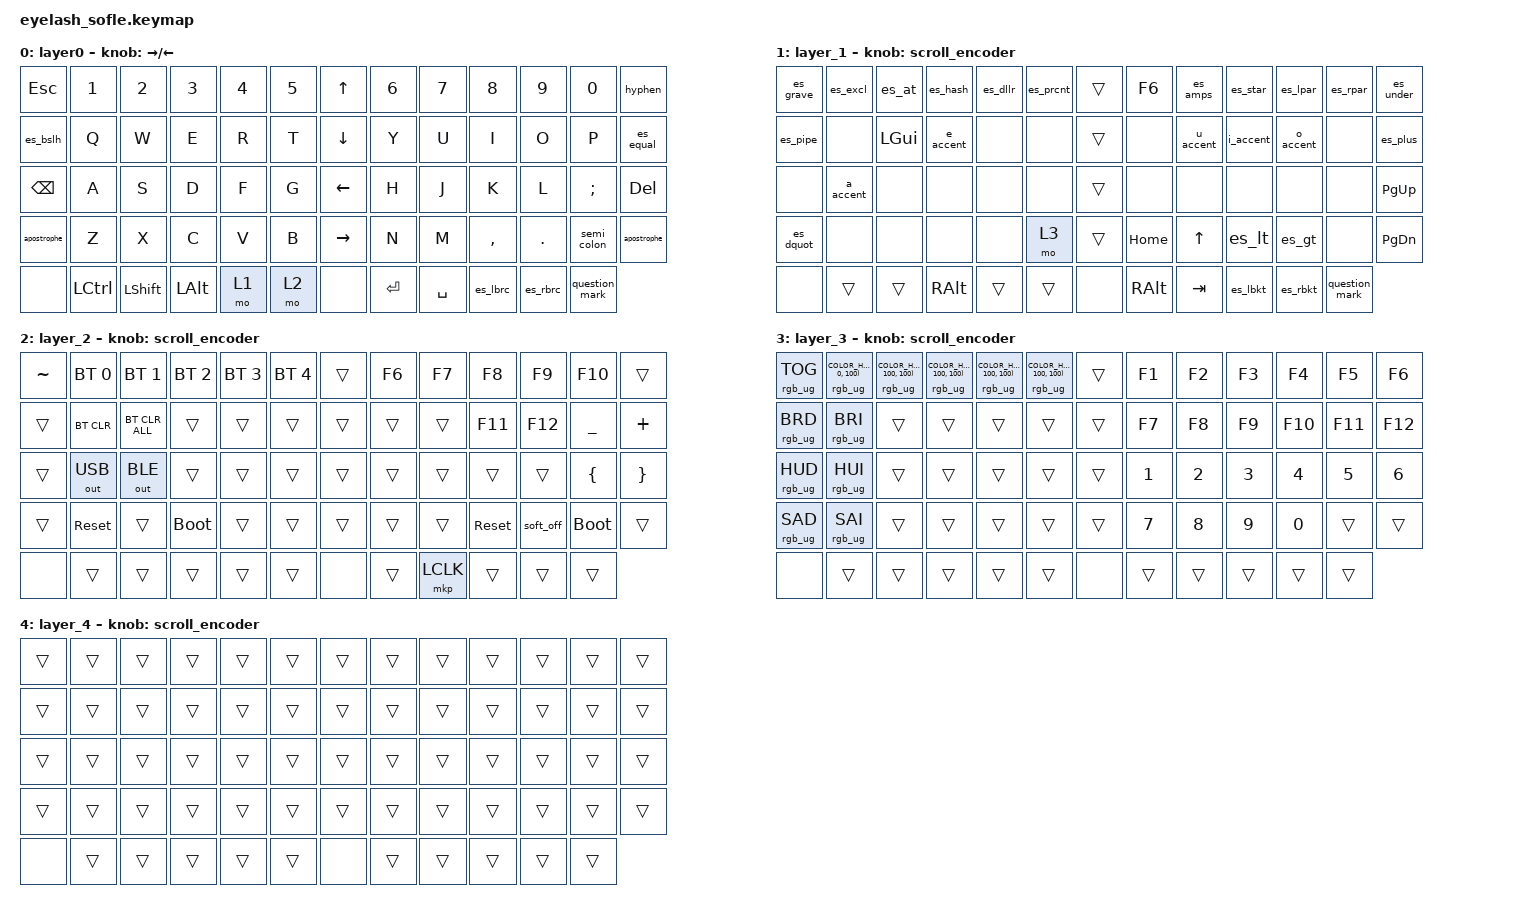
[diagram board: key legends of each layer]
#define ZMK_POINTING_DEFAULT_MOVE_VAL 1200
#define ZMK_POINTING_DEFAULT_SCRL_VAL 25

#include <input/processors.dtsi>
#include <zephyr/dt-bindings/input/input-event-codes.h>
#include <behaviors.dtsi>
#include <dt-bindings/zmk/bt.h>
#include <dt-bindings/zmk/keys.h>
#include <dt-bindings/zmk/outputs.h>
#include <dt-bindings/zmk/pointing.h>
#include <dt-bindings/zmk/rgb.h>

&mmv_input_listener { input-processors = <&zip_xy_scaler 2 1>; };
&msc_input_listener { input-processors = <&zip_scroll_scaler 2 1>; };

&msc {
    acceleration-exponent = <1>;
    time-to-max-speed-ms = <100>;
    delay-ms = <0>;
};

&mmv {
    time-to-max-speed-ms = <500>;
    acceleration-exponent = <1>;
    trigger-period-ms = <16>;
};

&soft_off { hold-time-ms = <2000>; };

/ {
    // NOTA: Esta exportación incluye todas las secciones necesarias:
    // - Configuración de pointing y soft_off
    // - Scroll encoder behaviors
    // - Combos (softoff)
    // - Macros (SHIFT_MCLK)
    // - Controles RGB manuales en Layer 1
    // NO eliminar ninguna sección al importar/exportar
    scroll_encoder: scroll_encoder {
        compatible = "zmk,behavior-sensor-rotate";
        #sensor-binding-cells = <0>;
        bindings = <&msc SCRL_DOWN>, <&msc SCRL_UP>;
        tap-ms = <100>;
    };

    behaviors {
        dual_role: dual_role { 
            compatible = "zmk,behavior-hold-tap"; 
            #binding-cells = <2>; // TAP y HOLD como parámetros 
            tapping-term-ms = <200>; 
            flavor = "tap-preferred"; // Priorizar tap sobre hold
            bindings = <&kp>, <&kp>; // Permite cualquier tecla como parámetro
        };
        
        // Simple macros for Spanish characters
        semi_colon: semi_colon {
            compatible = "zmk,behavior-macro";
            #binding-cells = <0>;
            bindings = <&kp LS(COMMA)>;
        };
        
        apostrophe: apostrophe {
            compatible = "zmk,behavior-macro";
            #binding-cells = <0>;
            wait-ms = <40>;
            tap-ms = <40>;
            bindings = 
                <&macro_press &kp LALT>,
                <&macro_tap &kp KP_N0>,
                <&macro_tap &kp KP_N3>,
                <&macro_tap &kp KP_N9>,
                <&macro_release &kp LALT>
            ;
        };
        
        question_mark: question_mark {
            compatible = "zmk,behavior-macro";
            #binding-cells = <0>;
            wait-ms = <40>;
            tap-ms = <40>;
            bindings = 
                <&macro_press &kp LALT>,
                <&macro_tap &kp KP_N0>,
                <&macro_tap &kp KP_N6>,
                <&macro_tap &kp KP_N3>,
                <&macro_release &kp LALT>
            ;
        };
        
        hyphen: hyphen {
            compatible = "zmk,behavior-macro";
            #binding-cells = <0>;
            wait-ms = <40>;
            tap-ms = <40>;
            bindings = 
                <&macro_press &kp LALT>,
                <&macro_tap &kp KP_N4>,
                <&macro_tap &kp KP_N5>,
                <&macro_release &kp LALT>
            ;
        };
        
        plus_sign: plus_sign {
            compatible = "zmk,behavior-macro";
            #binding-cells = <0>;
            wait-ms = <40>;
            tap-ms = <40>;
            bindings = 
                <&macro_press &kp LALT>,
                <&macro_tap &kp KP_N4>,
                <&macro_tap &kp KP_N3>,
                <&macro_release &kp LALT>
            ;
        };
        
        acute_accent: acute_accent {
            compatible = "zmk,behavior-macro";
            #binding-cells = <0>;
            wait-ms = <40>;
            tap-ms = <40>;
            bindings = 
                <&macro_press &kp LALT>,
                <&macro_tap &kp KP_N0>,
                <&macro_tap &kp KP_N0>,
                <&macro_tap &kp KP_N1>,
                <&macro_tap &kp KP_N8>,
                <&macro_tap &kp KP_N0>,
                <&macro_release &kp LALT>
            ;
        };
        
        a_accent: a_accent {
            compatible = "zmk,behavior-macro";
            #binding-cells = <0>;
            wait-ms = <40>;
            tap-ms = <40>;
            bindings = 
                <&macro_press &kp LALT>,
                <&macro_tap &kp KP_N0>,
                <&macro_tap &kp KP_N2>,
                <&macro_tap &kp KP_N2>,
                <&macro_tap &kp KP_N5>,
                <&macro_release &kp LALT>
            ;
        };
        
        e_accent: e_accent {
            compatible = "zmk,behavior-macro";
            #binding-cells = <0>;
            wait-ms = <40>;
            tap-ms = <40>;
            bindings = 
                <&macro_press &kp LALT>,
                <&macro_tap &kp KP_N0>,
                <&macro_tap &kp KP_N2>,
                <&macro_tap &kp KP_N3>,
                <&macro_tap &kp KP_N3>,
                <&macro_release &kp LALT>
            ;
        };
        
        i_accent: i_accent {
            compatible = "zmk,behavior-macro";
            #binding-cells = <0>;
            wait-ms = <40>;
            tap-ms = <40>;
            bindings = 
                <&macro_press &kp LALT>,
                <&macro_tap &kp KP_N0>,
                <&macro_tap &kp KP_N2>,
                <&macro_tap &kp KP_N3>,
                <&macro_tap &kp KP_N7>,
                <&macro_release &kp LALT>
            ;
        };
        
        o_accent: o_accent {
            compatible = "zmk,behavior-macro";
            #binding-cells = <0>;
            wait-ms = <40>;
            tap-ms = <40>;
            bindings = 
                <&macro_press &kp LALT>,
                <&macro_tap &kp KP_N0>,
                <&macro_tap &kp KP_N2>,
                <&macro_tap &kp KP_N4>,
                <&macro_tap &kp KP_N3>,
                <&macro_release &kp LALT>
            ;
        };
        
        u_accent: u_accent {
            compatible = "zmk,behavior-macro";
            #binding-cells = <0>;
            wait-ms = <40>;
            tap-ms = <40>;
            bindings = 
                <&macro_press &kp LALT>,
                <&macro_tap &kp KP_N0>,
                <&macro_tap &kp KP_N2>,
                <&macro_tap &kp KP_N5>,
                <&macro_tap &kp KP_N0>,
                <&macro_release &kp LALT>
            ;
        };
        
        n_tilde: n_tilde {
            compatible = "zmk,behavior-macro";
            #binding-cells = <0>;
            wait-ms = <40>;
            tap-ms = <40>;
            bindings = 
                <&macro_press &kp LALT>,
                <&macro_tap &kp KP_N0>,
                <&macro_tap &kp KP_N2>,
                <&macro_tap &kp KP_N4>,
                <&macro_tap &kp KP_N1>,
                <&macro_release &kp LALT>
            ;
        };
        
        // Símbolos españoles con Alt sequences
        es_slash: es_slash {
            compatible = "zmk,behavior-macro";
            #binding-cells = <0>;
            wait-ms = <40>;
            tap-ms = <40>;
            bindings = 
                <&macro_press &kp LALT>,
                <&macro_tap &kp KP_N0>,
                <&macro_tap &kp KP_N4>,
                <&macro_tap &kp KP_N7>,
                <&macro_release &kp LALT>
            ;
        };
        
        es_lpar: es_lpar {
            compatible = "zmk,behavior-macro";
            #binding-cells = <0>;
            wait-ms = <40>;
            tap-ms = <40>;
            bindings = 
                <&macro_press &kp LALT>,
                <&macro_tap &kp KP_N0>,
                <&macro_tap &kp KP_N4>,
                <&macro_tap &kp KP_N0>,
                <&macro_release &kp LALT>
            ;
        };
        
        es_rpar: es_rpar {
            compatible = "zmk,behavior-macro";
            #binding-cells = <0>;
            wait-ms = <40>;
            tap-ms = <40>;
            bindings = 
                <&macro_press &kp LALT>,
                <&macro_tap &kp KP_N0>,
                <&macro_tap &kp KP_N4>,
                <&macro_tap &kp KP_N1>,
                <&macro_release &kp LALT>
            ;
        };
        
        es_equal: es_equal {
            compatible = "zmk,behavior-macro";
            #binding-cells = <0>;
            wait-ms = <40>;
            tap-ms = <40>;
            bindings = 
                <&macro_press &kp LALT>,
                <&macro_tap &kp KP_N0>,
                <&macro_tap &kp KP_N6>,
                <&macro_tap &kp KP_N1>,
                <&macro_release &kp LALT>
            ;
        };
        
        es_excl: es_excl {
            compatible = "zmk,behavior-macro";
            #binding-cells = <0>;
            wait-ms = <40>;
            tap-ms = <40>;
            bindings = 
                <&macro_press &kp LALT>,
                <&macro_tap &kp KP_N0>,
                <&macro_tap &kp KP_N3>,
                <&macro_tap &kp KP_N3>,
                <&macro_release &kp LALT>
            ;
        };
        
        es_dquot: es_dquot {
            compatible = "zmk,behavior-macro";
            #binding-cells = <0>;
            wait-ms = <40>;
            tap-ms = <40>;
            bindings = 
                <&macro_press &kp LALT>,
                <&macro_tap &kp KP_N0>,
                <&macro_tap &kp KP_N3>,
                <&macro_tap &kp KP_N4>,
                <&macro_release &kp LALT>
            ;
        };
        
        es_hash: es_hash {
            compatible = "zmk,behavior-macro";
            #binding-cells = <0>;
            wait-ms = <40>;
            tap-ms = <40>;
            bindings = 
                <&macro_press &kp LALT>,
                <&macro_tap &kp KP_N0>,
                <&macro_tap &kp KP_N3>,
                <&macro_tap &kp KP_N5>,
                <&macro_release &kp LALT>
            ;
        };
        
        es_dllr: es_dllr {
            compatible = "zmk,behavior-macro";
            #binding-cells = <0>;
            wait-ms = <40>;
            tap-ms = <40>;
            bindings = 
                <&macro_press &kp LALT>,
                <&macro_tap &kp KP_N0>,
                <&macro_tap &kp KP_N3>,
                <&macro_tap &kp KP_N6>,
                <&macro_release &kp LALT>
            ;
        };
        
        es_prcnt: es_prcnt {
            compatible = "zmk,behavior-macro";
            #binding-cells = <0>;
            wait-ms = <40>;
            tap-ms = <40>;
            bindings = 
                <&macro_press &kp LALT>,
                <&macro_tap &kp KP_N0>,
                <&macro_tap &kp KP_N3>,
                <&macro_tap &kp KP_N7>,
                <&macro_release &kp LALT>
            ;
        };
        
        es_amps: es_amps {
            compatible = "zmk,behavior-macro";
            #binding-cells = <0>;
            wait-ms = <40>;
            tap-ms = <40>;
            bindings = 
                <&macro_press &kp LALT>,
                <&macro_tap &kp KP_N0>,
                <&macro_tap &kp KP_N3>,
                <&macro_tap &kp KP_N8>,
                <&macro_release &kp LALT>
            ;
        };
        
        es_under: es_under {
            compatible = "zmk,behavior-macro";
            #binding-cells = <0>;
            wait-ms = <40>;
            tap-ms = <40>;
            bindings = 
                <&macro_press &kp LALT>,
                <&macro_tap &kp KP_N0>,
                <&macro_tap &kp KP_N9>,
                <&macro_tap &kp KP_N5>,
                <&macro_release &kp LALT>
            ;
        };
        
        es_lbrc: es_lbrc {
            compatible = "zmk,behavior-macro";
            #binding-cells = <0>;
            wait-ms = <40>;
            tap-ms = <40>;
            bindings = 
                <&macro_press &kp LALT>,
                <&macro_tap &kp KP_N1>,
                <&macro_tap &kp KP_N2>,
                <&macro_tap &kp KP_N3>,
                <&macro_release &kp LALT>
            ;
        };
        
        es_rbrc: es_rbrc {
            compatible = "zmk,behavior-macro";
            #binding-cells = <0>;
            wait-ms = <40>;
            tap-ms = <40>;
            bindings = 
                <&macro_press &kp LALT>,
                <&macro_tap &kp KP_N1>,
                <&macro_tap &kp KP_N2>,
                <&macro_tap &kp KP_N5>,
                <&macro_release &kp LALT>
            ;
        };
        
        es_lbkt: es_lbkt {
            compatible = "zmk,behavior-macro";
            #binding-cells = <0>;
            wait-ms = <40>;
            tap-ms = <40>;
            bindings = 
                <&macro_press &kp LALT>,
                <&macro_tap &kp KP_N9>,
                <&macro_tap &kp KP_N1>,
                <&macro_release &kp LALT>
            ;
        };
        
        es_rbkt: es_rbkt {
            compatible = "zmk,behavior-macro";
            #binding-cells = <0>;
            wait-ms = <40>;
            tap-ms = <40>;
            bindings = 
                <&macro_press &kp LALT>,
                <&macro_tap &kp KP_N9>,
                <&macro_tap &kp KP_N3>,
                <&macro_release &kp LALT>
            ;
        };
        
        es_pipe: es_pipe {
            compatible = "zmk,behavior-macro";
            #binding-cells = <0>;
            wait-ms = <40>;
            tap-ms = <40>;
            bindings = 
                <&macro_press &kp LALT>,
                <&macro_tap &kp KP_N1>,
                <&macro_tap &kp KP_N2>,
                <&macro_tap &kp KP_N4>,
                <&macro_release &kp LALT>
            ;
        };
        
        es_at: es_at {
            compatible = "zmk,behavior-macro";
            #binding-cells = <0>;
            wait-ms = <40>;
            tap-ms = <40>;
            bindings = 
                <&macro_press &kp LALT>,
                <&macro_tap &kp KP_N6>,
                <&macro_tap &kp KP_N4>,
                <&macro_release &kp LALT>
            ;
        };
        
        es_bslh: es_bslh {
            compatible = "zmk,behavior-macro";
            #binding-cells = <0>;
            wait-ms = <40>;
            tap-ms = <40>;
            bindings = 
                <&macro_press &kp LALT>,
                <&macro_tap &kp KP_N9>,
                <&macro_tap &kp KP_N2>,
                <&macro_release &kp LALT>
            ;
        };
        
        es_tilde: es_tilde {
            compatible = "zmk,behavior-macro";
            #binding-cells = <0>;
            wait-ms = <40>;
            tap-ms = <40>;
            bindings = 
                <&macro_press &kp LALT>,
                <&macro_tap &kp KP_N1>,
                <&macro_tap &kp KP_N2>,
                <&macro_tap &kp KP_N6>,
                <&macro_release &kp LALT>
            ;
        };
        
        es_euro: es_euro {
            compatible = "zmk,behavior-macro";
            #binding-cells = <0>;
            wait-ms = <40>;
            tap-ms = <40>;
            bindings = 
                <&macro_press &kp LALT>,
                <&macro_tap &kp KP_N0>,
                <&macro_tap &kp KP_N1>,
                <&macro_tap &kp KP_N2>,
                <&macro_tap &kp KP_N8>,
                <&macro_release &kp LALT>
            ;
        };
        
        es_plus: es_plus {
            compatible = "zmk,behavior-macro";
            #binding-cells = <0>;
            wait-ms = <40>;
            tap-ms = <40>;
            bindings = 
                <&macro_press &kp LALT>,
                <&macro_tap &kp KP_N4>,
                <&macro_tap &kp KP_N3>,
                <&macro_release &kp LALT>
            ;
        };
        
        es_star: es_star {
            compatible = "zmk,behavior-macro";
            #binding-cells = <0>;
            wait-ms = <40>;
            tap-ms = <40>;
            bindings = 
                <&macro_press &kp LALT>,
                <&macro_tap &kp KP_N4>,
                <&macro_tap &kp KP_N2>,
                <&macro_release &kp LALT>
            ;
        };
        
        es_lt: es_lt {
            compatible = "zmk,behavior-macro";
            #binding-cells = <0>;
            wait-ms = <40>;
            tap-ms = <40>;
            bindings = 
                <&macro_press &kp LALT>,
                <&macro_tap &kp KP_N6>,
                <&macro_tap &kp KP_N0>,
                <&macro_release &kp LALT>
            ;
        };
        
        es_gt: es_gt {
            compatible = "zmk,behavior-macro";
            #binding-cells = <0>;
            wait-ms = <40>;
            tap-ms = <40>;
            bindings = 
                <&macro_press &kp LALT>,
                <&macro_tap &kp KP_N6>,
                <&macro_tap &kp KP_N2>,
                <&macro_release &kp LALT>
            ;
        };
        
        es_caret: es_caret {
            compatible = "zmk,behavior-macro";
            #binding-cells = <0>;
            wait-ms = <40>;
            tap-ms = <40>;
            bindings = 
                <&macro_press &kp LALT>,
                <&macro_tap &kp KP_N9>,
                <&macro_tap &kp KP_N4>,
                <&macro_release &kp LALT>
            ;
        };
        
        es_comma: es_comma {
            compatible = "zmk,behavior-macro";
            #binding-cells = <0>;
            wait-ms = <40>;
            tap-ms = <40>;
            bindings = 
                <&macro_press &kp LALT>,
                <&macro_tap &kp KP_N4>,
                <&macro_tap &kp KP_N4>,
                <&macro_release &kp LALT>
            ;
        };
        
        es_dot: es_dot {
            compatible = "zmk,behavior-macro";
            #binding-cells = <0>;
            wait-ms = <40>;
            tap-ms = <40>;
            bindings = 
                <&macro_press &kp LALT>,
                <&macro_tap &kp KP_N4>,
                <&macro_tap &kp KP_N6>,
                <&macro_release &kp LALT>
            ;
        };
        
        es_colon: es_colon {
            compatible = "zmk,behavior-macro";
            #binding-cells = <0>;
            wait-ms = <40>;
            tap-ms = <40>;
            bindings = 
                <&macro_press &kp LALT>,
                <&macro_tap &kp KP_N5>,
                <&macro_tap &kp KP_N8>,
                <&macro_release &kp LALT>
            ;
        };
        
        es_grave: es_grave {
            compatible = "zmk,behavior-macro";
            #binding-cells = <0>;
            wait-ms = <40>;
            tap-ms = <40>;
            bindings = 
                <&macro_press &kp LALT>,
                <&macro_tap &kp KP_N9>,
                <&macro_tap &kp KP_N6>,
                <&macro_release &kp LALT>
            ;
        };
    };

    combos {
        compatible = "zmk,combos";
        softoff {
            bindings = <&soft_off>;
            key-positions = <14 28 40>;
        };
    };

    macros {
        SHIFT_MCLK: SHIFT_MCLK {
            compatible = "zmk,behavior-macro";
            #binding-cells = <0>;
            bindings =
                <&macro_press>,
                <&kp LEFT_SHIFT>,
                <&macro_press>,
                <&mkp MB3>,
                <&macro_pause_for_release>,
                <&macro_release>,
                <&kp LEFT_SHIFT &mkp MB3>;
            label = "SHIFT_MCLK";
        };
    };

    keymap {
        compatible = "zmk,keymap";

        layer0 {
            bindings = <
                &kp ESC  &kp N1  &kp N2  &kp N3  &kp N4  &kp N5  &kp UP  &kp N6  &kp N7  &kp N8  &kp N9  &kp N0  &hyphen
                &es_bslh  &kp Q  &kp W  &kp E  &kp R  &kp T  &kp DOWN  &kp Y  &kp U  &kp I  &kp O  &kp P  &es_equal
                &kp BSPC  &kp A  &kp S  &kp D  &kp F  &kp G  &kp LEFT  &kp H  &kp J  &kp K  &kp L  &kp SEMI  &kp DEL
                &apostrophe  &kp Z  &kp X  &kp C  &kp V  &kp B  &kp RIGHT  &kp N  &kp M  &kp COMMA  &kp DOT  &semi_colon  &apostrophe
                &none  &kp LCTRL  &kp LSHFT  &kp LALT  &mo 1  &mo 2  &none  &kp ENTER  &kp SPACE  &es_lbrc  &es_rbrc  &question_mark
            >;
            sensor-bindings = <&inc_dec_kp RIGHT LEFT>;
            // Joystick: UP=&kp UP_ARROW DOWN=&kp DOWN_ARROW LEFT=&kp LEFT_ARROW RIGHT=&kp RIGHT_ARROW CLICK=&rgb_ug RGB_TOG
        };

        layer_1 {
            bindings = <
                &es_grave  &es_excl  &es_at  &es_hash  &es_dllr  &es_prcnt  &trans  &kp F6  &es_amps  &es_star  &es_lpar  &es_rpar  &es_under
                &es_pipe  &none  &kp LGUI  &e_accent  &none  &none  &trans  &none  &u_accent  &i_accent  &o_accent  &none  &es_plus
                &none  &a_accent  &none  &none  &none  &none  &trans  &none  &none  &none  &none  &none  &kp PG_UP
                &es_dquot  &none  &none  &none  &none  &mo 3  &trans  &kp HOME  &kp UP  &es_lt  &es_gt  &none  &kp PG_DN
                &none  &trans  &trans  &kp RALT  &trans  &trans  &none  &kp RALT  &kp TAB  &es_lbkt  &es_rbkt  &question_mark
            >;
            sensor-bindings = <&scroll_encoder>;
            // Joystick: UP=&mmv MOVE_UP DOWN=&mmv MOVE_DOWN LEFT=&mmv MOVE_LEFT RIGHT=&mmv MOVE_RIGHT CLICK=&mkp LCLK
        };

        layer_2 {
            bindings = <
                &kp TILDE  &bt BT_SEL 0  &bt BT_SEL 1  &bt BT_SEL 2  &bt BT_SEL 3  &bt BT_SEL 4  &trans  &kp F6  &kp F7  &kp F8  &kp F9  &kp F10  &trans
                &trans  &bt BT_CLR  &bt BT_CLR_ALL  &trans  &trans  &trans  &trans  &trans  &trans  &kp F11  &kp F12  &kp UNDER  &kp PLUS
                &trans  &out OUT_USB  &out OUT_BLE  &trans  &trans  &trans  &trans  &trans  &trans  &trans  &trans  &kp LBRC  &kp RBRC
                &trans  &sys_reset  &trans  &bootloader  &trans  &trans  &trans  &trans  &trans  &sys_reset  &soft_off  &bootloader  &trans
                &none  &trans  &trans  &trans  &trans  &trans  &none  &trans  &mkp LCLK  &trans  &trans  &trans
            >;
            sensor-bindings = <&scroll_encoder>;
            // Joystick: UP=&mmv MOVE_UP DOWN=&mmv MOVE_DOWN LEFT=&mmv MOVE_LEFT RIGHT=&mmv MOVE_RIGHT CLICK=&mkp LCLK
        };

        layer_3 {
            bindings = <
                &rgb_ug RGB_TOG  &rgb_ug RGB_COLOR_HSV(0, 0, 100)  &rgb_ug RGB_COLOR_HSV(180, 100, 100)  &rgb_ug RGB_COLOR_HSV(300, 100, 100)  &rgb_ug RGB_COLOR_HSV(60, 100, 100)  &rgb_ug RGB_COLOR_HSV(240, 100, 100)  &trans  &kp F1  &kp F2  &kp F3  &kp F4  &kp F5  &kp F6
                &rgb_ug RGB_BRD  &rgb_ug RGB_BRI  &trans  &trans  &trans  &trans  &trans  &kp F7  &kp F8  &kp F9  &kp F10  &kp F11  &kp F12
                &rgb_ug RGB_HUD  &rgb_ug RGB_HUI  &trans  &trans  &trans  &trans  &trans  &kp N1  &kp N2  &kp N3  &kp N4  &kp N5  &kp N6
                &rgb_ug RGB_SAD  &rgb_ug RGB_SAI  &trans  &trans  &trans  &trans  &trans  &kp N7  &kp N8  &kp N9  &kp N0  &trans  &trans
                &none  &trans  &trans  &trans  &trans  &trans  &none  &trans  &trans  &trans  &trans  &trans
            >;
            sensor-bindings = <&scroll_encoder>;
            // Joystick: UP=&mmv MOVE_UP DOWN=&mmv MOVE_DOWN LEFT=&mmv MOVE_LEFT RIGHT=&mmv MOVE_RIGHT CLICK=&mkp LCLK
        };

        layer_4 {
            bindings = <
                &trans  &trans  &trans  &trans  &trans  &trans  &trans  &trans  &trans  &trans  &trans  &trans  &trans
                &trans  &trans  &trans  &trans  &trans  &trans  &trans  &trans  &trans  &trans  &trans  &trans  &trans
                &trans  &trans  &trans  &trans  &trans  &trans  &trans  &trans  &trans  &trans  &trans  &trans  &trans
                &trans  &trans  &trans  &trans  &trans  &trans  &trans  &trans  &trans  &trans  &trans  &trans  &trans
                &none  &trans  &trans  &trans  &trans  &trans  &none  &trans  &trans  &trans  &trans  &trans
            >;
            sensor-bindings = <&scroll_encoder>;
            // Joystick: UP=&mmv MOVE_UP DOWN=&mmv MOVE_DOWN LEFT=&mmv MOVE_LEFT RIGHT=&mmv MOVE_RIGHT CLICK=&mkp LCLK
        };

    };
};
